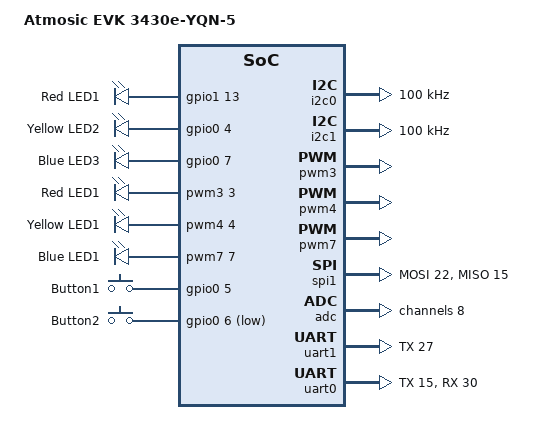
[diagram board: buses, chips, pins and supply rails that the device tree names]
/*
 * Copyright (c) 2021-2025 Atmosic
 *
 * SPDX-License-Identifier: Apache-2.0
 */

/dts-v1/;
#ifndef FLASH_SIZE
#define FLASH_SIZE 0x200000
#endif
#include <arm/atmosic/ATM34xx_ns.dtsi>
#include <dt-bindings/gpio/gpio.h>
#include "pinctrl-qn.dtsi"
#define STACKED_FLASH_YQN
#include "stacked_flash.dtsi"

/ {
	model = "Atmosic EVK 3430e-YQN-5";
	compatible = "atmosic,ATMEVK-3430e-YQN-5";

	chosen {
		zephyr,console = &uart1;
		zephyr,shell-uart = &uart1;
		zephyr,uart-mcumgr = &uart0;
		zephyr,bt-mon-uart = &uart1;
		zephyr,bt-c2h-uart = &uart0;
		zephyr,sram = &sram0;
		zephyr,flash-controller = &rram_controller;
		zephyr,flash = &rram0;
		zephyr,code-partition = &nspe_partition;
		zephyr,entropy = &trng;
		zephyr,ieee802154 = &ieee802154;
	};

	leds {
		compatible = "gpio-leds";
		led0: led_0 {
			gpios = <&gpio1 13 GPIO_ACTIVE_HIGH>;
			label = "Red LED1";
		};
		led1: led_1 {
			gpios = <&gpio0 4 GPIO_ACTIVE_HIGH>;
			label = "Yellow LED2";
		};
		led2: led_2 {
			gpios = <&gpio0 7 GPIO_ACTIVE_HIGH>;
			label = "Blue LED3";
		};
	};

        pwmleds {
                compatible = "pwm-leds";
                pwm_led0: pwm_led_0 {
                        pwms = <&pwm3 3 PWM_MSEC(1) PWM_POLARITY_NORMAL>;
			label = "Red LED1";
                };
                pwm_led1: pwm_led_1 {
                        pwms = <&pwm4 4 PWM_MSEC(1) PWM_POLARITY_NORMAL>;
			label = "Yellow LED1";
                };
                pwm_led2: pwm_led_2 {
                        pwms = <&pwm7 7 PWM_MSEC(1) PWM_POLARITY_NORMAL>;
			label = "Blue LED1";
                };
        };

	buttons {
		compatible = "gpio-keys";
		button0: button_0 {
			gpios = <&gpio0 5 GPIO_ACTIVE_HIGH>;
			label = "Button1";
		};
		button1: button_1 {
			gpios = <&gpio0 6 GPIO_ACTIVE_LOW>;
			label = "Button2";
		};
	};

	/* These aliases are provided for compatibility with samples */
	aliases {
		i2c-1 = &i2c0;
		led0 = &led0;
		pwm-0 = &pwm3;
		pwm-1 = &pwm4;
		pwm-2 = &pwm7;
		pwm-led0 = &pwm_led0;
		pwm-led1 = &pwm_led1;
		pwm-led2 = &pwm_led2;
		sw0 = &button0;
	};

	zephyr,user {
		pin-arrangement = "7X7";
	};
};

&i2c0 {
	pinctrl-0 = <&i2c0_sda_default &i2c0_scl_default>;
	pinctrl-names = "default";
	clock-frequency = <I2C_BITRATE_STANDARD>;
};

&i2c1 {
	pinctrl-0 = <&i2c1_sda_default &i2c1_scl_default>;
	pinctrl-names = "default";
	clock-frequency = <I2C_BITRATE_STANDARD>;
};

&pwm3 {
	pin = <29>;
	status = "okay";
};

&pwm4 {
	pin = <4>;
	status = "okay";
};

&pwm7 {
	pin = <7>;
	status = "okay";
};

&spi1 {
        clk-pin = <5>;
        cs-pin = <4>;
        mosi-pin = <22>;
        miso-pin = <15>;
};

&adc {
	ch-cell = <1>;
	ch-store = <2>;
	ch-core = <3>;
	ch-temp = <4>;
	ch-p1diff = <5>;
	ch-p0diff = <6>;
	ch-p1single0 = <7>;
	ch-p1single1 = <8>;
	ch-p0single0 = <9>;
	ch-p0single1 = <10>;
	ch-batt = <11>;
	ch-p2single = <12>;
	ch-p3single = <13>;
	ch-p4single = <14>;

	#address-cells = <1>;
	#size-cells = <0>;

	channel@8 {
		reg = <8>;
		zephyr,gain = "ADC_GAIN_1_4";
		zephyr,reference = "ADC_REF_INTERNAL";
		zephyr,acquisition-time = <ADC_ACQ_TIME_DEFAULT>;
	};
};

&uart1 {
	tx-pin = <27>;
};

&uart0 {
	rx-pin = <30>;
	tx-pin = <15>;
	rts-pin = <13>;
	cts-pin = <12>;
};

&pmu {
	batt-type = <3>;
	batt-level = <1>;
	vddio-type = <0>;
	vddpa-src = <0>;
};

arduino_i2c: &i2c0 {};
arduino_spi: &spi1 {};
